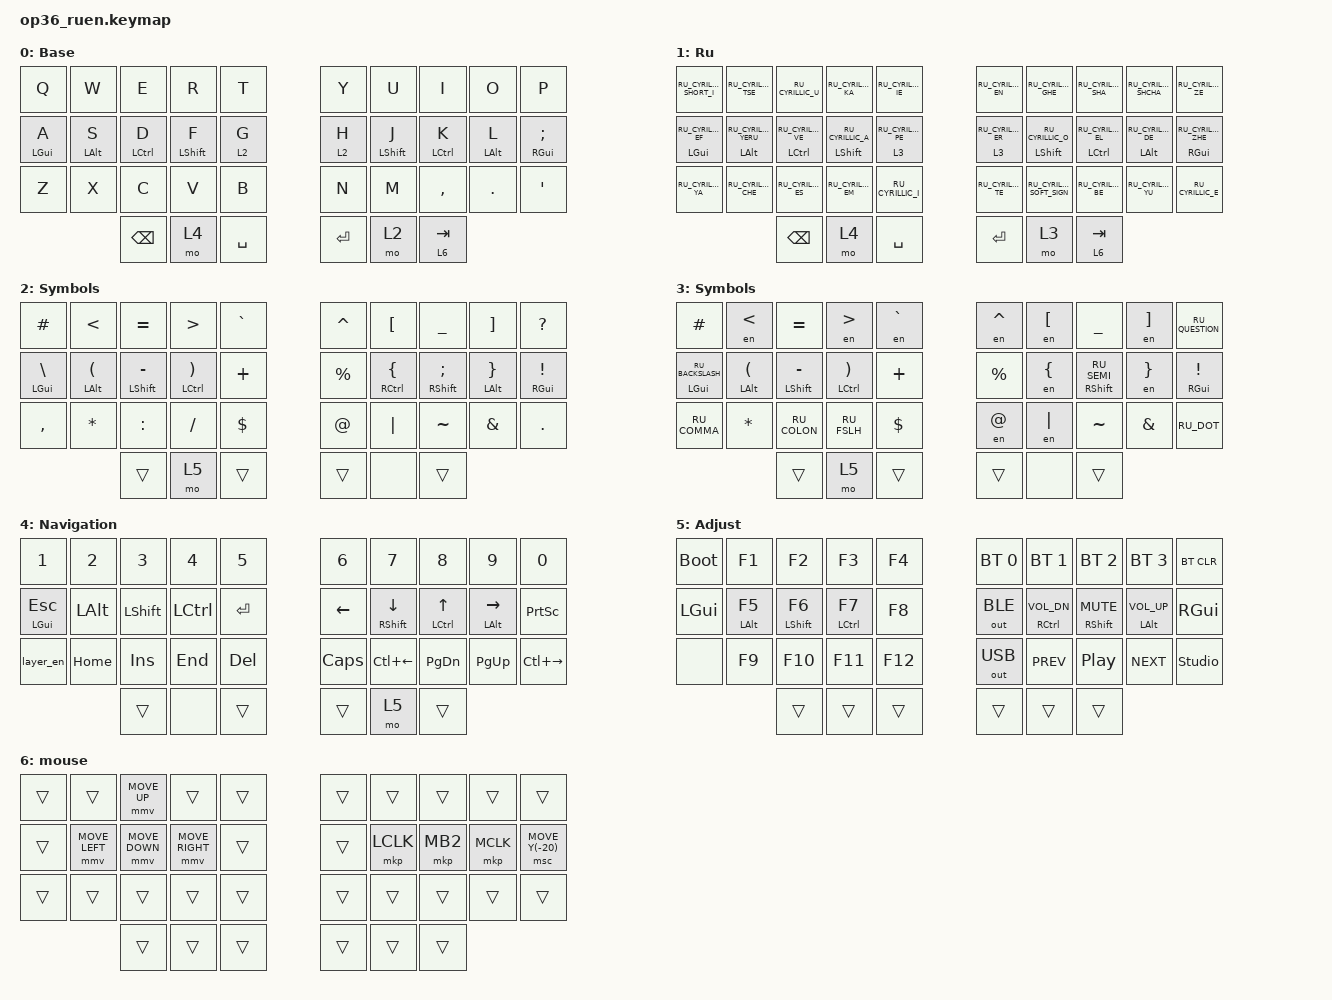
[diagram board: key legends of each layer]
#include "keys_ru.h"
#include "keys_ru.h"
#include <behaviors.dtsi>
#include <dt-bindings/zmk/bt.h>
#include <dt-bindings/zmk/keys.h>
#include <dt-bindings/zmk/outputs.h>
#include <dt-bindings/zmk/pointing.h>

&mt {
    quick-tap-ms = <200>;
    flavor = "tap-preferred";
    require-prior-idle-ms = <125>;
};

/ {
    behaviors {
        hml: home_row_mod_left {
            compatible = "zmk,behavior-hold-tap";
            #binding-cells = <2>;
            flavor = "balanced";
            require-prior-idle-ms = <150>;
            tapping-term-ms = <280>;
            quick-tap-ms = <175>;
            bindings = <&kp>, <&kp>;

            hold-trigger-key-positions = <5 6 7 8 9 15 16 17 18 19 25 26 27 28 29 33 34 35>;
            hold-trigger-on-release;
        };

        hmr: home_row_mod_right {
            compatible = "zmk,behavior-hold-tap";
            #binding-cells = <2>;
            flavor = "balanced";
            require-prior-idle-ms = <150>;
            tapping-term-ms = <280>;
            quick-tap-ms = <175>;
            bindings = <&kp>, <&kp>;

            hold-trigger-key-positions = <0 1 2 3 4 10 11 12 13 14 20 21 22 23 24 30 31 32>;
            hold-trigger-on-release;
        };

        hrm_for_layer: hrm_for_layer {
            compatible = "zmk,behavior-hold-tap";
            label = "HRM_FOR_LAYER";
            bindings = <&mo>, <&kp>;

            #binding-cells = <2>;
            tapping-term-ms = <200>;
            flavor = "balanced";
        };
    };

    combos {
        compatible = "zmk,combos";

        kha {
            bindings = <&kp RU_CYRILLIC_HA>;
            key-positions = <6 7>;
            layers = <1>;
        };

        hrdsgn {
            bindings = <&kp RU_CYRILLIC_HARD_SIGN>;
            key-positions = <7 8>;
            layers = <1>;
        };

        cmben {
            bindings = <&layer_en>;
            key-positions = <2 3>;
            layers = <1>;
        };

        cmbru {
            bindings = <&layer_ru>;
            key-positions = <2 3>;
            layers = <0>;
        };
    };

    macros {
        to_ru: to_ru {
            compatible = "zmk,behavior-macro";
            #binding-cells = <0>;
            bindings = <&kp LS(LC(N2))>;
            label = "TO_RU";
            wait-ms = <0>;
            tap-ms = <30>;
        };

        to_en: to_en {
            compatible = "zmk,behavior-macro";
            #binding-cells = <0>;
            bindings = <&kp LS(LC(N1))>;
            label = "TO_EN";
            wait-ms = <0>;
            tap-ms = <30>;
        };

        layer_en: layer_en {
            compatible = "zmk,behavior-macro";
            #binding-cells = <0>;
            bindings = <&to 0 &to_en>;
            label = "LAYER_EN";
            wait-ms = <0>;
            tap-ms = <30>;
        };

        layer_ru: layer_ru {
            compatible = "zmk,behavior-macro";
            #binding-cells = <0>;
            bindings = <&to 1 &to_ru>;
            label = "LAYER_RU";
            tap-ms = <30>;
            wait-ms = <0>;
        };

        en: en {
            compatible = "zmk,behavior-macro-one-param";
            #binding-cells = <1>;
            bindings =
                <&to_en>,
                <&macro_press>,
                <&macro_param_1to1 &kp MACRO_PLACEHOLDER>,
                <&macro_pause_for_release>,
                <&macro_release>,
                <&macro_param_1to1 &kp MACRO_PLACEHOLDER>,
                <&macro_tap>,
                <&to_ru>;

            label = "EN";
            wait-ms = <0>;
            tap-ms = <30>;
        };
    };

    keymap {
        compatible = "zmk,keymap";

        en {
            bindings = <
  &kp Q        &kp W        &kp E         &kp R          &kp T                                       &kp Y               &kp U                 &kp I         &kp O        &kp P
  &hml LGUI A  &hml LALT S  &hml LCTRL D  &hml LSHIFT F  &hrm_for_layer 2 G                          &hrm_for_layer 2 H  &hmr LSHIFT J         &hmr LCTRL K  &hmr LALT L  &hmr RGUI SEMICOLON
  &kp Z        &kp X        &kp C         &kp V          &kp B                                       &kp N               &kp M                 &kp COMMA     &kp DOT      &kp SQT
                                          &kp BACKSPACE  &mo 4               &kp SPACE    &kp ENTER  &mo 2               &hrm_for_layer 6 TAB
            >;

            display-name = "Base";
        };

        ru {
            bindings = <
  &kp RU_CYRILLIC_SHORT_I   &kp RU_CYRILLIC_TSE         &kp RU_CYRILLIC_U          &kp RU_CYRILLIC_KA         &kp RU_CYRILLIC_IE                                       &kp RU_CYRILLIC_EN               &kp RU_CYRILLIC_GHE        &kp RU_CYRILLIC_SHA        &kp RU_CYRILLIC_SHCHA     &kp RU_CYRILLIC_ZE
  &hml LGUI RU_CYRILLIC_EF  &hml LALT RU_CYRILLIC_YERU  &hml LCTRL RU_CYRILLIC_VE  &hml LSHIFT RU_CYRILLIC_A  &hrm_for_layer 3 RU_CYRILLIC_PE                          &hrm_for_layer 3 RU_CYRILLIC_ER  &hmr LSHIFT RU_CYRILLIC_O  &hmr LCTRL RU_CYRILLIC_EL  &hmr LALT RU_CYRILLIC_DE  &hmr RGUI RU_CYRILLIC_ZHE
  &kp RU_CYRILLIC_YA        &kp RU_CYRILLIC_CHE         &kp RU_CYRILLIC_ES         &kp RU_CYRILLIC_EM         &kp RU_CYRILLIC_I                                        &kp RU_CYRILLIC_TE               &kp RU_CYRILLIC_SOFT_SIGN  &kp RU_CYRILLIC_BE         &kp RU_CYRILLIC_YU        &kp RU_CYRILLIC_E
                                                                                   &kp BACKSPACE              &mo 4                            &kp SPACE    &kp ENTER  &mo 3                            &hrm_for_layer 6 TAB
            >;

            display-name = "Ru";
        };

        sym_en {
            bindings = <
  &kp HASH        &kp LT          &kp EQUAL         &kp GT           &kp GRAVE                     &kp CARET  &kp LBKT         &kp UNDER        &kp RBKT        &kp QUESTION
  &hml LGUI BSLH  &hml LALT LPAR  &hml LSHFT MINUS  &hml LCTRL RPAR  &kp PLUS                      &kp PRCNT  &hmr RCTRL LBRC  &hmr RSHFT SEMI  &hmr LALT RBRC  &hmr RGUI EXCL
  &kp COMMA       &kp STAR        &kp COLON         &kp FSLH         &kp DOLLAR                    &kp AT     &kp PIPE         &kp TILDE        &kp AMPS        &kp DOT
                                                    &trans           &mo 5       &trans    &trans  &none      &trans
            >;

            display-name = "Symbols";
        };

        sym_ru {
            bindings = <
  &kp HASH                &en LT          &kp EQUAL         &en GT           &en GRAVE                     &en CARET  &en LBKT  &kp UNDER           &en RBKT  &kp RU_QUESTION
  &hml LGUI RU_BACKSLASH  &hml LALT LPAR  &hml LSHFT MINUS  &hml LCTRL RPAR  &kp PLUS                      &kp PRCNT  &en LBRC  &hmr RSHFT RU_SEMI  &en RBRC  &hmr RGUI EXCL
  &kp RU_COMMA            &kp STAR        &kp RU_COLON      &kp RU_FSLH      &kp DOLLAR                    &en AT     &en PIPE  &kp TILDE           &kp AMPS  &kp RU_DOT
                                                            &trans           &mo 5       &trans    &trans  &none      &trans
            >;

            display-name = "Symbols";
        };

        nav {
            bindings = <
  &kp N1         &kp N2    &kp N3     &kp N4     &kp N5                        &kp N6    &kp N7            &kp N8         &kp N9           &kp N0
  &hml LGUI ESC  &kp LALT  &kp LSHFT  &kp LCTRL  &kp ENTER                     &kp LEFT  &hmr RSHIFT DOWN  &hmr LCTRL UP  &hmr LALT RIGHT  &kp PRINTSCREEN
  &layer_en      &kp HOME  &kp INS    &kp END    &kp DELETE                    &kp CAPS  &kp LC(LEFT)      &kp PG_DN      &kp PG_UP        &kp LC(RIGHT)
                                      &trans     &none       &trans    &trans  &mo 5     &trans
            >;

            display-name = "Navigation";
        };

        adj {
            bindings = <
  &bootloader  &kp F1        &kp F2         &kp F3         &kp F4                     &bt BT_SEL 0  &bt BT_SEL 1         &bt BT_SEL 2       &bt BT_SEL 3        &bt BT_CLR
  &kp LGUI     &hml LALT F5  &hml LSHFT F6  &hml LCTRL F7  &kp F8                     &out OUT_BLE  &hmr RCTRL C_VOL_DN  &hmr RSHFT C_MUTE  &hmr LALT C_VOL_UP  &kp RGUI
  &none        &kp F9        &kp F10        &kp F11        &kp F12                    &out OUT_USB  &kp C_PREV           &kp C_PP           &kp C_NEXT          &studio_unlock
                                            &trans         &trans   &trans    &trans  &trans        &trans
            >;

            display-name = "Adjust";
        };

        mouse {
            bindings = <
  &trans  &trans          &mmv MOVE_UP    &trans           &trans                    &trans  &trans     &trans    &trans     &trans
  &trans  &mmv MOVE_LEFT  &mmv MOVE_DOWN  &mmv MOVE_RIGHT  &trans                    &trans  &mkp LCLK  &mkp MB2  &mkp MCLK  &msc MOVE_Y(-20)
  &trans  &trans          &trans          &trans           &trans                    &trans  &trans     &trans    &trans     &trans
                                          &trans           &trans  &trans    &trans  &trans  &trans
            >;
        };
    };
};
